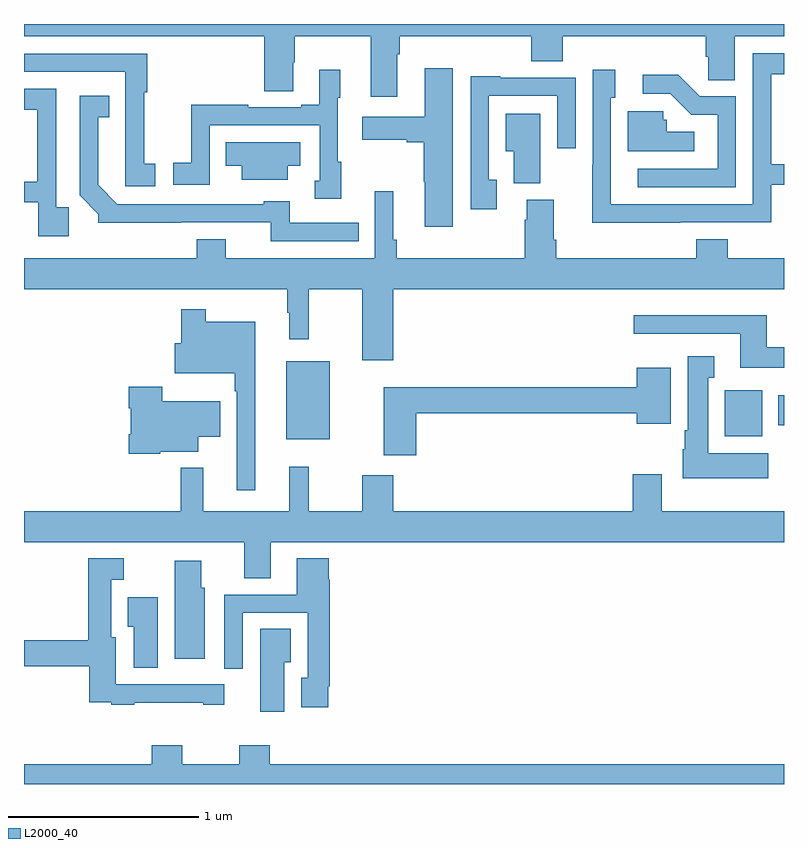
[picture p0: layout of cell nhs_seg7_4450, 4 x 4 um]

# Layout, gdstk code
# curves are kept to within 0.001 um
import gdstk
lib = gdstk.Library(unit=1e-6, precision=1e-09)
def R(c, l, rs):  # rectangles x0, y0, x1, y1
    for r in rs: c.add(gdstk.rectangle(r[:2], r[2:], *l))
def P(c, l, *ps):  # polygons
    for p in ps: c.add(gdstk.Polygon(p, *l))
L2000_40 = (2000, 40)

nhs_seg7_4450 = lib.new_cell('nhs_seg7_4450')
R(nhs_seg7_4450, L2000_40, [(392.381,1011.815,392.608,1012.225), (394.688,1011.83,394.885,1012.072), (394.97,1011.889,395,1012.045)])
P(nhs_seg7_4450, L2000_40, [(392.965,1013.84),(392.978,1013.84),(392.978,1013.936),(393.671,1013.936),(393.671,1013.803),(393.836,1013.803),(393.836,1013.936),(394.589,1013.936),(394.589,1013.827),(394.602,1013.827),(394.602,1013.704),(394.741,1013.704),(394.741,1013.936),(395,1013.936),(395,1014),(391,1014),(391,1013.936),(392.264,1013.936),(392.264,1013.647),(392.416,1013.647),(392.416,1013.798),(392.424,1013.798),(392.424,1013.936),(392.825,1013.936),(392.825,1013.616),(392.965,1013.616)],
  [(394.454,1012.956),(394.932,1012.956),(394.932,1013.154),(395,1013.154),(395,1013.263),(394.933,1013.263),(394.933,1013.736),(395,1013.736),(395,1013.847),(394.836,1013.847),(394.836,1013.052),(394.089,1013.052),(394.089,1013.613),(394.111,1013.613),(394.111,1013.758),(393.993,1013.758),(393.993,1013.258),(393.992,1013.258),(393.992,1012.955),(394.454,1012.955)],
  [(391.69,1013.265),(391.632,1013.265),(391.632,1013.641),(391.649,1013.641),(391.649,1013.844),(391,1013.844),(391,1013.748),(391.533,1013.748),(391.533,1013.42),(391.532,1013.42),(391.532,1013.145),(391.69,1013.145)],
  [(393.256,1013.767),(393.11,1013.767),(393.11,1013.512),(392.781,1013.512),(392.781,1013.39),(393.014,1013.39),(393.014,1013.378),(393.103,1013.378),(393.103,1013.169),(393.11,1013.169),(393.11,1012.932),(393.256,1012.932)],
  [(392.671,1013.275),(392.652,1013.275),(392.652,1013.613),(392.665,1013.613),(392.665,1013.758),(392.555,1013.758),(392.555,1013.575),(392.459,1013.575),(392.459,1013.562),(392.18,1013.562),(392.18,1013.575),(391.879,1013.575),(391.879,1013.27),(391.785,1013.27),(391.785,1013.154),(391.977,1013.154),(391.977,1013.466),(392.556,1013.466),(392.556,1013.175),(392.531,1013.175),(392.531,1013.081),(392.671,1013.081)],
  [(394.746,1013.619),(394.557,1013.619),(394.444,1013.732),(394.257,1013.732),(394.257,1013.634),(394.401,1013.634),(394.512,1013.523),(394.65,1013.523),(394.65,1013.238),(394.23,1013.238),(394.23,1013.142),(394.746,1013.142)],
  [(393.487,1013.181),(393.447,1013.181),(393.447,1013.622),(393.807,1013.622),(393.807,1013.346),(393.903,1013.346),(393.903,1013.718),(393.507,1013.718),(393.507,1013.725),(393.351,1013.725),(393.351,1013.025),(393.487,1013.025)],
  [(391.235,1013.035),(391.17,1013.035),(391.17,1013.658),(391,1013.658),(391,1013.55),(391.069,1013.55),(391.069,1013.17),(391,1013.17),(391,1013.061),(391.074,1013.061),(391.074,1012.884),(391.235,1012.884)],
  [(392.762,1012.953),(392.398,1012.953),(392.398,1013.068),(392.262,1013.068),(392.262,1013.052),(391.491,1013.052),(391.39,1013.153),(391.39,1013.51),(391.448,1013.51),(391.448,1013.623),(391.293,1013.623),(391.293,1013.098),(391.392,1012.999),(391.392,1012.955),(392.299,1012.956),(392.299,1012.857),(392.762,1012.857)],
  [(394.528,1013.434),(394.383,1013.434),(394.383,1013.496),(394.365,1013.496),(394.365,1013.541),(394.178,1013.541),(394.178,1013.33),(394.528,1013.33)],
  [(393.718,1013.527),(393.536,1013.527),(393.536,1013.33),(393.578,1013.33),(393.578,1013.161),(393.718,1013.161)],
  [(392.389,1013.255),(392.455,1013.255),(392.455,1013.377),(392.062,1013.377),(392.062,1013.255),(392.147,1013.255),(392.147,1013.18),(392.389,1013.18)],
  [(392.944,1012.604),(395,1012.604),(395,1012.768),(394.703,1012.768),(394.703,1012.867),(394.538,1012.867),(394.538,1012.768),(393.8,1012.768),(393.8,1012.864),(393.787,1012.864),(393.787,1013.076),(393.647,1013.076),(393.647,1012.97),(393.635,1012.97),(393.635,1012.768),(392.963,1012.768),(392.963,1012.864),(392.944,1012.864),(392.944,1013.119),(392.847,1013.119),(392.847,1012.768),(392.062,1012.768),(392.062,1012.867),(391.91,1012.867),(391.91,1012.768),(391,1012.768),(391,1012.604),(392.385,1012.604),(392.385,1012.481),(392.396,1012.481),(392.396,1012.341),(392.498,1012.341),(392.498,1012.604),(392.78,1012.604),(392.78,1012.23),(392.944,1012.23)],
  [(392.218,1012.432),(391.957,1012.432),(391.957,1012.498),(391.828,1012.498),(391.828,1012.321),(391.794,1012.321),(391.794,1012.163),(392.109,1012.163),(392.109,1012.067),(392.121,1012.067),(392.121,1011.546),(392.218,1011.546)],
  [(395,1012.3),(394.909,1012.3),(394.909,1012.468),(394.209,1012.468),(394.209,1012.371),(394.769,1012.371),(394.769,1012.19),(395,1012.19)],
  [(394.918,1011.742),(394.6,1011.742),(394.6,1012.139),(394.633,1012.139),(394.633,1012.252),(394.493,1012.252),(394.493,1011.862),(394.478,1011.862),(394.478,1011.762),(394.466,1011.762),(394.466,1011.608),(394.918,1011.608)],
  [(393.065,1011.952),(394.226,1011.952),(394.226,1011.896),(394.405,1011.896),(394.405,1012.192),(394.226,1012.192),(394.226,1012.088),(392.894,1012.088),(392.894,1011.729),(393.065,1011.729)],
  [(391.716,1011.749),(391.918,1011.749),(391.918,1011.827),(392.032,1011.827),(392.032,1012.015),(391.728,1012.015),(391.728,1012.09),(391.55,1012.09),(391.55,1011.977),(391.562,1011.977),(391.562,1011.841),(391.55,1011.841),(391.55,1011.737),(391.716,1011.737)],
  [(395,1011.436),(394.357,1011.436),(394.357,1011.631),(394.205,1011.631),(394.205,1011.436),(392.944,1011.436),(392.944,1011.625),(392.78,1011.625),(392.78,1011.436),(392.498,1011.436),(392.498,1011.67),(392.396,1011.67),(392.396,1011.436),(391.943,1011.436),(391.943,1011.664),(391.825,1011.664),(391.825,1011.436),(391,1011.436),(391,1011.272),(392.159,1011.272),(392.159,1011.082),(392.299,1011.082),(392.299,1011.272),(395,1011.272)],
  [(391.579,1010.428),(391.943,1010.428),(391.943,1010.418),(392.055,1010.418),(392.055,1010.526),(391.483,1010.526),(391.483,1010.772),(391.459,1010.772),(391.459,1011.074),(391.525,1011.074),(391.525,1011.187),(391.338,1011.187),(391.338,1010.756),(391,1010.756),(391,1010.62),(391.343,1010.62),(391.343,1010.43),(391.459,1010.43),(391.459,1010.418),(391.579,1010.418)],
  [(392.602,1010.515),(392.609,1010.515),(392.609,1011.074),(392.603,1011.074),(392.603,1011.187),(392.435,1011.187),(392.435,1010.997),(392.055,1010.997),(392.055,1010.607),(392.151,1010.607),(392.151,1010.901),(392.493,1010.901),(392.493,1010.559),(392.459,1010.559),(392.459,1010.403),(392.602,1010.403)],
  [(391.951,1011.033),(391.933,1011.033),(391.933,1011.175),(391.793,1011.175),(391.793,1010.66),(391.951,1010.66)],
  [(391.705,1010.983),(391.547,1010.983),(391.547,1010.827),(391.577,1010.827),(391.577,1010.611),(391.705,1010.611)],
  [(392.371,1010.642),(392.404,1010.642),(392.404,1010.816),(392.243,1010.816),(392.243,1010.379),(392.371,1010.379)],
  [(395,1010.104),(392.294,1010.104),(392.294,1010.203),(392.134,1010.203),(392.134,1010.104),(391.833,1010.104),(391.833,1010.203),(391.673,1010.203),(391.673,1010.104),(391,1010.104),(391,1010),(395,1010)])

lib.write_gds('nhs_seg7_4450.gds')
